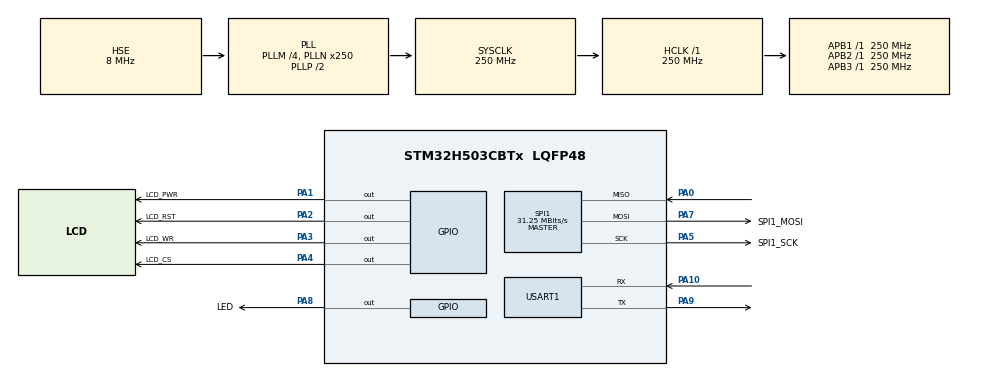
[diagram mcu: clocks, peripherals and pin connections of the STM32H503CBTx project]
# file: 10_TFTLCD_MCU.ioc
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BOOTPATH.BootPathName=LEGACY
BOOTPATH.UserSelectedBootPath=LEGACY
Mcu.Family=STM32H5
Mcu.Name=STM32H503CBTx
Mcu.Package=LQFP48
NVIC.PriorityGroup=NVIC_PRIORITYGROUP_4
NVIC.USART1_IRQn=true\:3\:0\:true\:false\:true\:true\:true\:true
PA0.Mode=Full_Duplex_Master
PA0.Signal=SPI1_MISO
PA1.GPIO_Label=LCD_PWR
PA1.GPIO_PuPd=GPIO_PULLUP
PA1.GPIO_Speed=GPIO_SPEED_FREQ_HIGH
PA1.PinState=GPIO_PIN_SET
PA1.Signal=GPIO_Output
PA10.GPIO_PuPd=GPIO_NOPULL
PA10.Mode=Asynchronous
PA10.Signal=USART1_RX
PA2.GPIO_Label=LCD_RST
PA2.GPIO_PuPd=GPIO_PULLUP
PA2.GPIO_Speed=GPIO_SPEED_FREQ_HIGH
PA2.PinState=GPIO_PIN_SET
PA2.Signal=GPIO_Output
PA3.GPIO_Label=LCD_WR
PA3.GPIO_ModeDefaultOutputPP=GPIO_MODE_OUTPUT_PP
PA3.GPIO_PuPd=GPIO_PULLUP
PA3.GPIO_Speed=GPIO_SPEED_FREQ_HIGH
PA3.PinState=GPIO_PIN_SET
PA3.Signal=GPIO_Output
PA4.GPIO_Label=LCD_CS
PA4.GPIO_PuPd=GPIO_PULLUP
PA4.GPIO_Speed=GPIO_SPEED_FREQ_HIGH
PA4.PinState=GPIO_PIN_SET
PA4.Signal=GPIO_Output
PA5.GPIO_Label=SPI1_SCK
PA5.GPIO_PuPd=GPIO_PULLUP
PA5.GPIO_Speed=GPIO_SPEED_FREQ_VERY_HIGH
PA5.Mode=Full_Duplex_Master
PA5.Signal=SPI1_SCK
PA7.GPIO_Label=SPI1_MOSI
PA7.GPIO_PuPd=GPIO_PULLUP
PA7.GPIO_Speed=GPIO_SPEED_FREQ_VERY_HIGH
PA7.Mode=Full_Duplex_Master
PA7.Signal=SPI1_MOSI
PA8.GPIO_Label=LED
PA8.GPIO_ModeDefaultOutputPP=GPIO_MODE_OUTPUT_PP
PA8.GPIO_PuPd=GPIO_PULLUP
PA8.PinState=GPIO_PIN_SET
PA8.Signal=GPIO_Output
PA9.GPIO_Speed=GPIO_SPEED_FREQ_HIGH
PA9.Mode=Asynchronous
PA9.Signal=USART1_TX
PC14-OSC32_IN(OSC32_IN).Mode=LSE-External-Oscillator
PC14-OSC32_IN(OSC32_IN).Signal=RCC_OSC32_IN
PC15-OSC32_OUT(OSC32_OUT).Mode=LSE-External-Oscillator
PC15-OSC32_OUT(OSC32_OUT).Signal=RCC_OSC32_OUT
PH0-OSC_IN(PH0).Mode=HSE-External-Oscillator
PH0-OSC_IN(PH0).Signal=RCC_OSC_IN
PH1-OSC_OUT(PH1).Mode=HSE-External-Oscillator
PH1-OSC_OUT(PH1).Signal=RCC_OSC_OUT
ProjectManager.HeapSize=0x200
ProjectManager.StackSize=0x400
ProjectManager.TargetToolchain=STM32CubeIDE
RCC.ADCFreq_Value=250000000
RCC.AHBFreq_Value=250000000
RCC.APB1Freq_Value=250000000
RCC.APB1TimFreq_Value=250000000
RCC.APB2Freq_Value=250000000
RCC.APB2TimFreq_Value=250000000
RCC.APB3Freq_Value=250000000
RCC.CSI_VALUE=4000000
RCC.CortexFreq_Value=250000000
RCC.EPOD_VALUE=8000000
RCC.HCLKFreq_Value=250000000
RCC.HSE_VALUE=8000000
RCC.HSI48_VALUE=48000000
RCC.HSI_VALUE=64000000
RCC.LSIRC_VALUE=32000
RCC.PLLM=4
RCC.PLLN=250
RCC.PLLSourceVirtual=RCC_PLL1_SOURCE_HSE
RCC.SYSCLKFreq_VALUE=250000000
RCC.SYSCLKSource=RCC_SYSCLKSOURCE_PLLCLK
RCC.USBFreq_Value=48000000
RCC.VCOOutputFreq_Value=500000000
SPI1.BaudRatePrescaler=SPI_BAUDRATEPRESCALER_8
SPI1.CalculateBaudRate=31.25 MBits/s
SPI1.DataSize=SPI_DATASIZE_8BIT
SPI1.Direction=SPI_DIRECTION_2LINES
SPI1.Mode=SPI_MODE_MASTER
SPI1.VirtualType=VM_MASTER
USART1.VirtualMode=VM_ASYNC
VP_BOOTPATH_VS_BOOTPATH.Mode=BP_Activate
VP_ICACHE_VS_ICACHE.Mode=DefaultMode
VP_MEMORYMAP_VS_MEMORYMAP.Mode=CurAppReg
VP_PWR_VS_DBSignals.Mode=DisableDeadBatterySignals
VP_PWR_VS_LPOM.Mode=PowerOptimisation
VP_PWR_VS_SECSignals.Mode=Security/Privilege
board=custom

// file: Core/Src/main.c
/**
 ****************************************************************************************************
 * @file        main.c
 * @author      ALIENTEK
 * @brief       TFTLCD_MCU code
 * @license     Copyright (C) 2012-2024, ALIENTEK
 ****************************************************************************************************
 * @attention
 *
 * platform     : ALIENTEK M48-STM32H503 board
 * website      : www.alientek.com
 * forum        : www.openedv.com/forum.php
 *
 * change logs  ：
 * version      data         notes
 * V1.0         20240309     the first version
 *
 ****************************************************************************************************
 */

/* USER CODE BEGIN Header */

/* USER CODE END Header */
#include "main.h"
#include "icache.h"
#include "memorymap.h"
#include "spi.h"
#include "usart.h"
#include "gpio.h"

/* USER CODE BEGIN Includes */
#include "stdio.h"
#include "../../BSP/LED/led.h"
#include "../../BSP/LCD/lcd.h"
/* USER CODE END Includes */

void SystemClock_Config(void);

/* USER CODE BEGIN 0 */
/**
 * @brief   Displays information about the experiment
 * @param   None
 * @retval  None
 */
void stm32h503cb_show_mesg(void)
{
	/* The serial port outputs the experimental information */
	printf("\n");
	printf("********************************\r\n");
	printf("STM32H503\r\n");
	printf("ATK-MD0130 Test\r\n");
	printf("ATOM@ALIENTEK\r\n");
	printf("********************************\r\n");
	printf("\r\n");
}
/* USER CODE END 0 */

int main(void)
{

  /* MCU Configuration--------------------------------------------------------*/

  /* Reset of all peripherals, Initializes the Flash interface and the Systick. */
  HAL_Init();

  /* Configure the system clock */
  SystemClock_Config();

  /* Initialize all configured peripherals */
  MX_GPIO_Init();
  MX_ICACHE_Init();
  MX_SPI1_Init();
  MX_USART1_UART_Init();
  /* USER CODE BEGIN 2 */
  stm32h503cb_show_mesg();
  lcd_init();
  lcd_show_string(0, 5, 240, 32, 32, "STM32H503CBT6", RED);
  lcd_show_string(0, 34, 240, 24, 24, "ATK-MD0130", RED);
  lcd_show_string(0, 60, 240, 16, 16, "ATOM@ALIENTEK", RED);
  /* USER CODE END 2 */

  /* Infinite loop */
  /* USER CODE BEGIN WHILE */
  while (1)
  {
	  LED_TOGGLE();       /* LED state is flipped */
	  HAL_Delay(500);
    /* USER CODE END WHILE */

  }
}

void SystemClock_Config(void)
{
  RCC_OscInitTypeDef RCC_OscInitStruct = {0};
  RCC_ClkInitTypeDef RCC_ClkInitStruct = {0};

  /** Configure the main internal regulator output voltage
  */
  __HAL_PWR_VOLTAGESCALING_CONFIG(PWR_REGULATOR_VOLTAGE_SCALE0);

  while(!__HAL_PWR_GET_FLAG(PWR_FLAG_VOSRDY)) {}

  /** Initializes the RCC Oscillators according to the specified parameters
  * in the RCC_OscInitTypeDef structure.
  */
  RCC_OscInitStruct.OscillatorType = RCC_OSCILLATORTYPE_HSE;
  RCC_OscInitStruct.HSEState = RCC_HSE_ON;
  RCC_OscInitStruct.PLL.PLLState = RCC_PLL_ON;
  RCC_OscInitStruct.PLL.PLLSource = RCC_PLL1_SOURCE_HSE;
  RCC_OscInitStruct.PLL.PLLM = 4;
  RCC_OscInitStruct.PLL.PLLN = 250;
  RCC_OscInitStruct.PLL.PLLP = 2;
  RCC_OscInitStruct.PLL.PLLQ = 2;
  RCC_OscInitStruct.PLL.PLLR = 2;
  RCC_OscInitStruct.PLL.PLLRGE = RCC_PLL1_VCIRANGE_1;
  RCC_OscInitStruct.PLL.PLLVCOSEL = RCC_PLL1_VCORANGE_WIDE;
  RCC_OscInitStruct.PLL.PLLFRACN = 0;
  if (HAL_RCC_OscConfig(&RCC_OscInitStruct) != HAL_OK)
  {
    Error_Handler();
  }

  /** Initializes the CPU, AHB and APB buses clocks
  */
  RCC_ClkInitStruct.ClockType = RCC_CLOCKTYPE_HCLK|RCC_CLOCKTYPE_SYSCLK
                              |RCC_CLOCKTYPE_PCLK1|RCC_CLOCKTYPE_PCLK2
                              |RCC_CLOCKTYPE_PCLK3;
  RCC_ClkInitStruct.SYSCLKSource = RCC_SYSCLKSOURCE_PLLCLK;
  RCC_ClkInitStruct.AHBCLKDivider = RCC_SYSCLK_DIV1;
  RCC_ClkInitStruct.APB1CLKDivider = RCC_HCLK_DIV1;
  RCC_ClkInitStruct.APB2CLKDivider = RCC_HCLK_DIV1;
  RCC_ClkInitStruct.APB3CLKDivider = RCC_HCLK_DIV1;

  if (HAL_RCC_ClockConfig(&RCC_ClkInitStruct, FLASH_LATENCY_5) != HAL_OK)
  {
    Error_Handler();
  }
}

void Error_Handler(void)
{
  __disable_irq();
  while (1)
  {
  }
}
